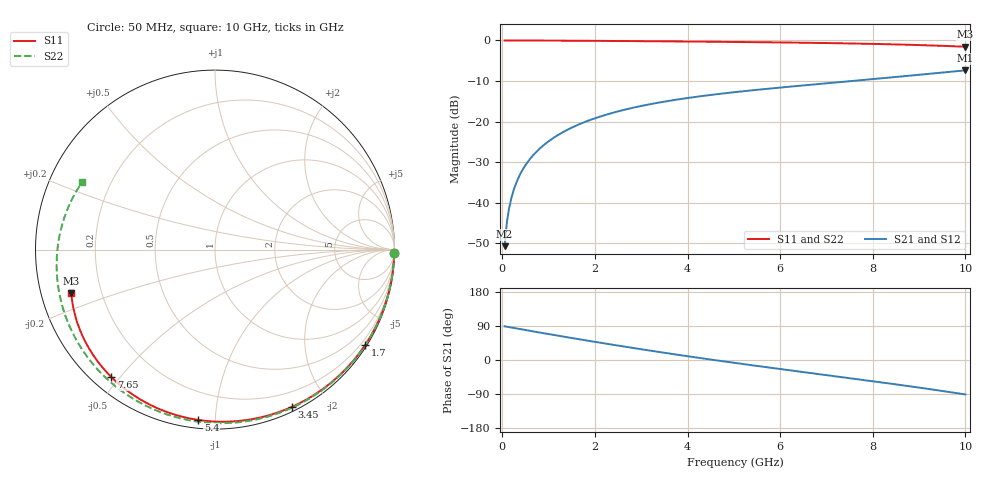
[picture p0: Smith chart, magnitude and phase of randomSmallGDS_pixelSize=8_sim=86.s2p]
! freq	dB(S11)	phase(S11)	dB(S12)	phase(S12)
!  dB(S21)	phase(S21)	dB(S22)	phase(S22)
!S-par simulation data
#  GHz  S  DB  R 50
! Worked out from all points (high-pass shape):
!   200 points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, 50 MHz to 10 GHz, reference 50 ohm
!   highest |S21| = -7.37 dB at 10 GHz (marker M1); lowest = -50.7 dB at 50 MHz (marker M2)
!   |S21| within 3 dB of the highest: 7.186 GHz to end of sweep
!   lowest |S11| = -1.6 dB at 10 GHz (marker M3), VSWR 11.23, Z = 4.55 - j7.3 ohm
!   |S11| at or under -10 dB: nowhere
!   |S22| runs from -1.6 to 0.0 dB; largest |S21 - S12| = 0
!   S11 on the Smith chart (normalised r, x): 50 MHz: open; 1.7 GHz: 0.06, -3.43; 3.45 GHz: 0.04, -1.60; 5.4 GHz: 0.04, -0.91; 7.65 GHz: 0.05, -0.47; 10 GHz: 0.09, -0.15
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0.05  -0.01 -1.0  -50.69 88.9  -50.69 88.9  -0.01 -1.2
0.1  -0.01 -2.0  -44.67 87.8  -44.67 87.8  -0.01 -2.3
0.15  -0.01 -2.9  -41.15 86.7  -41.15 86.7  -0.01 -3.5
0.2  -0.01 -3.9  -38.66 85.6  -38.66 85.6  -0.01 -4.7
0.3  -0.01 -5.8  -35.14 83.4  -35.14 83.4  -0.02 -7.0
0.45  -0.02 -8.7  -31.65 80.1  -31.65 80.1  -0.02 -10.5
0.65  -0.02 -12.6  -28.49 75.8  -28.49 75.8  -0.03 -15.2
0.95  -0.04 -18.3  -25.27 69.5  -25.27 69.5  -0.04 -22.1
1.3  -0.05 -25.0  -22.66 62.1  -22.66 62.1  -0.06 -30.1
1.7  -0.08 -32.5  -20.47 53.9  -20.47 53.9  -0.09 -39.2
1.75  -0.08 -33.4  -20.24 52.9  -20.24 52.9  -0.09 -40.3
2.6  -0.14 -49.0  -17.18 36.0  -17.18 36.0  -0.16 -58.9
3.4  -0.21 -63.0  -15.27 20.9  -15.27 20.9  -0.23 -75.6
3.45  -0.22 -63.9  -15.17 19.9  -15.17 19.9  -0.23 -76.7
4.25  -0.29 -77.3  -13.79 5.6  -13.79 5.6  -0.31 -92.7
5.05  -0.37 -90.2  -12.70 -8.2  -12.70 -8.2  -0.40 -108.2
5.4  -0.41 -95.6  -12.28 -14.0  -12.28 -14.0  -0.44 -114.9
6.7  -0.59 -115.3  -10.87 -35.1  -10.87 -35.1  -0.63 -139.2
7.65  -0.77 -129.2  -9.90 -50.3  -9.90 -50.3  -0.82 -157.2
8.35  -0.94 -139.3  -9.16 -61.8  -9.16 -61.8  -1.00 -171.0
9.2  -1.21 -151.6  -8.24 -76.3  -8.24 -76.3  -1.27 171.3
10  -1.55 -163.2  -7.37 -91.0  -7.37 -91.0  -1.61 153.2
